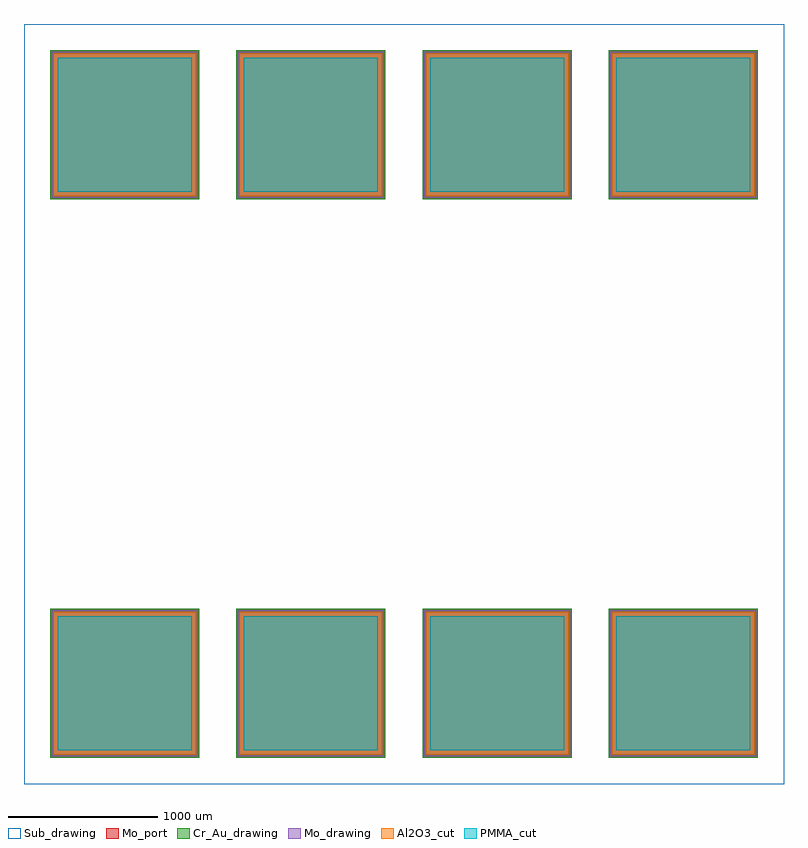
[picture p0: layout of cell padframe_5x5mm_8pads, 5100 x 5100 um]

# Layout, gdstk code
import gdstk
lib = gdstk.Library(unit=1e-6, precision=1e-09)
def R(c, l, rs):  # rectangles x0, y0, x1, y1
    for r in rs: c.add(gdstk.rectangle(r[:2], r[2:], *l))
def A(c, l, x, y, w, h, nx, ny, dx, dy):  # array of equal rectangles
    R(c, l, [(x+i*dx, y+j*dy, x+i*dx+w, y+j*dy+h) for i in range(nx) for j in range(ny)])
Sub_drawing = (1, 0)
Cr_Au_drawing = (2, 0)
Al2O3_cut = (3, 0)
Mo_drawing = (5, 0)
Mo_port = (5, 2)
PMMA_cut = (6, 0)

padframe_5x5mm_8pads = lib.new_cell('padframe_5x5mm_8pads')
R(padframe_5x5mm_8pads, Sub_drawing, [(-2550,-2550,2550,2550)])
A(padframe_5x5mm_8pads, Cr_Au_drawing, -2375, -2375, 1000, 1000, 4, 2, 1250, 3750)
A(padframe_5x5mm_8pads, Al2O3_cut, -2355, -2355, 960, 960, 4, 2, 1250, 3750)
A(padframe_5x5mm_8pads, Mo_drawing, -2365, -2365, 980, 980, 4, 2, 1250, 3750)
A(padframe_5x5mm_8pads, Mo_port, -2375, -2375, 1000, 1000, 4, 2, 1250, 3750)
A(padframe_5x5mm_8pads, PMMA_cut, -2325, -2325, 900, 900, 4, 2, 1250, 3750)

lib.write_gds('padframe_5x5mm_8pads.gds')
